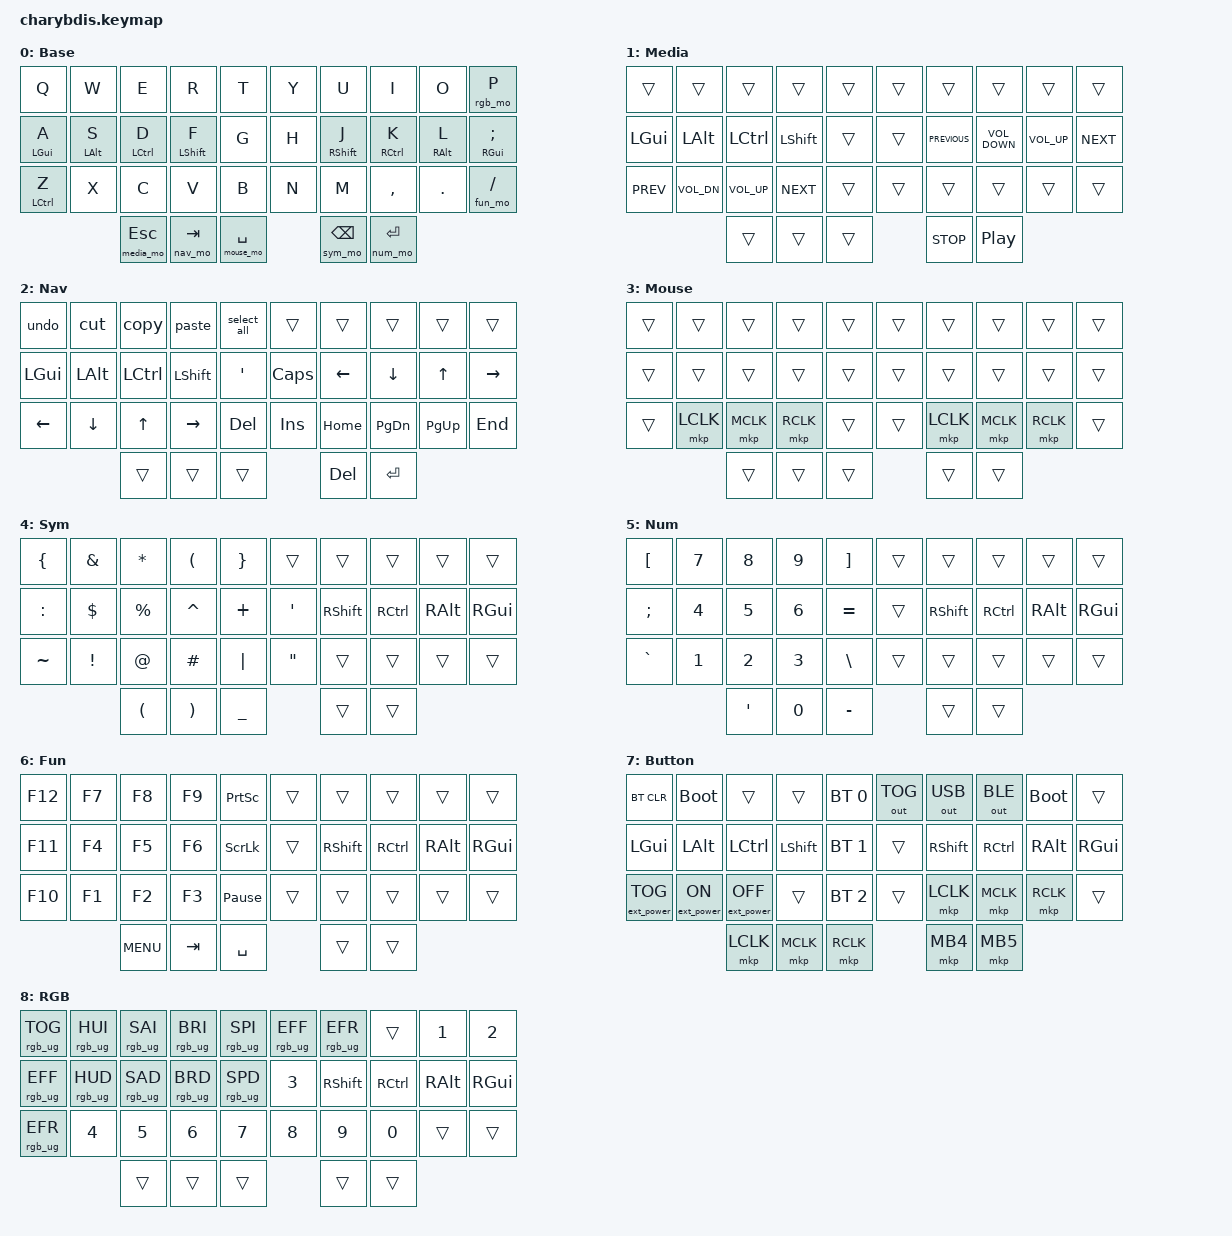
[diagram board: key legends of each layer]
#include <behaviors.dtsi>
#include <dt-bindings/zmk/keys.h>
#include <dt-bindings/zmk/rgb.h>
#include <dt-bindings/zmk/bt.h>
#include <dt-bindings/zmk/ext_power.h>
#include <dt-bindings/zmk/mouse.h>
#include <dt-bindings/zmk/outputs.h>
#include <input/processors.dtsi>
#include <dt-bindings/zmk/input_transform.h>

#define Base 0
#define Media 1
#define Nav 2
#define Mouse 3
#define Sym 4
#define Num 5
#define Fun 6
#define Button 7
#define RGB 8

/ {
    macros {
        undo: undo {
            compatible = "zmk,behavior-macro";
            #binding-cells = <0>;
            bindings = <&kp LC(Z)>;
        };
        cut: cut {
            compatible = "zmk,behavior-macro";
            #binding-cells = <0>;
            bindings = <&kp LC(X)>;
        };
        copy: copy {
            compatible = "zmk,behavior-macro";
            #binding-cells = <0>;
            bindings = <&kp LC(C)>;
        };
        paste: paste {
            compatible = "zmk,behavior-macro";
            #binding-cells = <0>;
            bindings = <&kp LC(V)>;
        };
        select_all: select_all {
            compatible = "zmk,behavior-macro";
            #binding-cells = <0>;
            bindings = <&kp LC(A)>;
        };

        // Layer-signal macros: press &mo X, send F2X to host, pause until
        // thumb key released, send F2X again, release &mo X.
        // The visualizer listens for F20-F24 and toggles the matching layer.
        media_mo: media_mo {
            compatible = "zmk,behavior-macro";
            #binding-cells = <0>;
            bindings
                = <&macro_press &mo 1>
                , <&kp F20>
                , <&macro_pause_for_release>
                , <&kp F20>
                , <&macro_release &mo 1>
                ;
        };
        nav_mo: nav_mo {
            compatible = "zmk,behavior-macro";
            #binding-cells = <0>;
            bindings
                = <&macro_press &mo 2>
                , <&kp F21>
                , <&macro_pause_for_release>
                , <&kp F21>
                , <&macro_release &mo 2>
                ;
        };
        mouse_mo: mouse_mo {
            compatible = "zmk,behavior-macro";
            #binding-cells = <0>;
            bindings
                = <&macro_press &mo 3>
                , <&kp F22>
                , <&macro_pause_for_release>
                , <&kp F22>
                , <&macro_release &mo 3>
                ;
        };
        sym_mo: sym_mo {
            compatible = "zmk,behavior-macro";
            #binding-cells = <0>;
            bindings
                = <&macro_press &mo 4>
                , <&kp F23>
                , <&macro_pause_for_release>
                , <&kp F23>
                , <&macro_release &mo 4>
                ;
        };
        num_mo: num_mo {
            compatible = "zmk,behavior-macro";
            #binding-cells = <0>;
            bindings
                = <&macro_press &mo 5>
                , <&kp F24>
                , <&macro_pause_for_release>
                , <&kp F24>
                , <&macro_release &mo 5>
                ;
        };
        fun_mo: fun_mo {
            compatible = "zmk,behavior-macro";
            #binding-cells = <0>;
            bindings
                = <&macro_press &mo 6>
                , <&kp F13>
                , <&macro_pause_for_release>
                , <&kp F13>
                , <&macro_release &mo 6>
                ;
        };
        rgb_mo: rgb_mo {
            compatible = "zmk,behavior-macro";
            #binding-cells = <0>;
            bindings
                = <&macro_press &mo 8>
                , <&kp F14>
                , <&macro_pause_for_release>
                , <&kp F14>
                , <&macro_release &mo 8>
                ;
        };
    };
    trackball_listener {
        compatible = "zmk,input-listener";
        device = <&trackball_split>;

        default {
            layers = <Media>;  // Default mouse movement on Media layer
            input-processors = <&zip_xy_scaler 1 3>;
        };

        snipe {
            layers = <Mouse>;
            input-processors = <&zip_xy_scaler 1 3>;
        };

        scroll {
            layers = <Nav>;
            input-processors = <&zip_xy_scaler 1 3>, <&zip_xy_to_scroll_mapper>, <&zip_scroll_transform (INPUT_TRANSFORM_Y_INVERT)>;
        };
    };

    behaviors {
        hm: homerow_mods {
            compatible = "zmk,behavior-hold-tap";
            #binding-cells = <2>;
            flavor = "tap-preferred";
            tapping-term-ms = <240>;
            quick-tap-ms = <150>;
            bindings =
                <&kp>,
                <&kp>;
        };

        lt: layer_tap {
            compatible = "zmk,behavior-hold-tap";
            #binding-cells = <2>;
            flavor = "balanced";
            tapping-term-ms = <240>;
            quick-tap-ms = <150>;
            bindings =
                <&mo>,
                <&kp>;
        };

        // Signaled layer-tap: like &lt but the hold macro also sends F20-F24
        // so the layout visualizer can track which layer is active.
        // Usage: &lts_media 0 ESCAPE  (0 = dummy cell for the 0-param macro)
        lts_media: lts_media {
            compatible = "zmk,behavior-hold-tap";
            #binding-cells = <2>;
            flavor = "balanced";
            tapping-term-ms = <240>;
            quick-tap-ms = <150>;
            bindings = <&media_mo>, <&kp>;
        };
        lts_nav: lts_nav {
            compatible = "zmk,behavior-hold-tap";
            #binding-cells = <2>;
            flavor = "balanced";
            tapping-term-ms = <240>;
            quick-tap-ms = <150>;
            bindings = <&nav_mo>, <&kp>;
        };
        lts_mouse: lts_mouse {
            compatible = "zmk,behavior-hold-tap";
            #binding-cells = <2>;
            flavor = "balanced";
            tapping-term-ms = <240>;
            quick-tap-ms = <150>;
            bindings = <&mouse_mo>, <&kp>;
        };
        lts_sym: lts_sym {
            compatible = "zmk,behavior-hold-tap";
            #binding-cells = <2>;
            flavor = "balanced";
            tapping-term-ms = <240>;
            quick-tap-ms = <150>;
            bindings = <&sym_mo>, <&kp>;
        };
        lts_num: lts_num {
            compatible = "zmk,behavior-hold-tap";
            #binding-cells = <2>;
            flavor = "balanced";
            tapping-term-ms = <240>;
            quick-tap-ms = <150>;
            bindings = <&num_mo>, <&kp>;
        };
        lts_fun: lts_fun {
            compatible = "zmk,behavior-hold-tap";
            #binding-cells = <2>;
            flavor = "balanced";
            tapping-term-ms = <240>;
            quick-tap-ms = <150>;
            bindings = <&fun_mo>, <&kp>;
        };
        lts_rgb: lts_rgb {
            compatible = "zmk,behavior-hold-tap";
            #binding-cells = <2>;
            flavor = "balanced";
            tapping-term-ms = <240>;
            quick-tap-ms = <150>;
            bindings = <&rgb_mo>, <&kp>;
        };
    };

    keymap {
        compatible = "zmk,keymap";

        Base {
            bindings = <
            &kp Q       &kp W       &kp E         &kp R         &kp T                 &kp Y        &kp U        &kp I       &kp O               &lts_rgb 0 P
            &hm LGUI A  &hm LALT S  &hm LCTRL D   &hm LSHIFT F  &kp G                 &kp H  &hm RSHFT J  &hm RCTRL K  &hm RALT L  &hm RGUI SEMICOLON
            &hm LCTRL Z &kp X       &kp C         &kp V         &kp B                 &kp N        &kp M    &kp COMMA     &kp DOT         &lts_fun 0 SLASH
                                    &lts_media 0 ESCAPE  &lts_nav 0 TAB  &lts_mouse 0 SPACE  &lts_sym 0 BACKSPACE  &lts_num 0 ENTER
            >;
        };

        Media {
            bindings = <
            &trans        &trans          &trans          &trans      &trans          &trans            &trans             &trans           &trans      &trans  
            &kp LGUI      &kp LALT        &kp LCTRL       &kp LSHIFT  &trans          &trans    &kp C_PREVIOUS  &kp C_VOLUME_DOWN  &kp C_VOLUME_UP  &kp C_NEXT  
            &kp C_PREV    &kp C_VOL_DN    &kp C_VOL_UP    &kp C_NEXT  &trans          &trans            &trans             &trans           &trans      &trans  
                                          &trans          &trans      &trans          &kp C_STOP  &kp C_PLAY_PAUSE
            >;
        };

        Nav {
            bindings = <
            &undo         &cut        &copy       &paste      &select_all             &trans     &trans      &trans         &trans       &trans 
            &kp LEFT_GUI  &kp LALT    &kp LCTRL   &kp LSHIFT  &kp SQT                 &kp CAPS   &kp LEFT    &kp DOWN       &kp UP       &kp RIGHT  
            &kp LEFT      &kp DOWN    &kp UP      &kp RIGHT   &kp DELETE              &kp INSERT   &kp HOME  &kp PAGE_DOWN  &kp PAGE_UP  &kp END  
                                      &trans      &trans      &trans                  &kp DELETE  &kp ENTER
            >;
        };

        Mouse {
            bindings = <
            &trans    &trans      &trans      &trans      &trans                      &trans         &trans     &trans     &trans  &trans  
            &trans    &trans      &trans      &trans      &trans                      &trans         &trans     &trans     &trans  &trans  
            &trans    &mkp LCLK   &mkp MCLK   &mkp RCLK   &trans                      &trans      &mkp LCLK  &mkp MCLK  &mkp RCLK  &trans  
                                  &trans      &trans      &trans                      &trans         &trans
            >;
        };

        Sym {
            bindings = <
            &kp LEFT_BRACE  &kp AMPERSAND  &kp ASTERISK          &kp LEFT_PARENTHESIS   &kp RIGHT_BRACE       &trans      &trans      &trans     &trans    &trans  
            &kp COLON       &kp DOLLAR     &kp PERCENT           &kp CARET              &kp PLUS              &kp SQT     &kp RSHIFT  &kp RCTRL  &kp RALT  &kp RGUI  
            &kp TILDE       &kp EXCL       &kp AT                &kp HASH               &kp PIPE              &kp DQT     &trans      &trans     &trans    &trans  
                                           &kp LEFT_PARENTHESIS  &kp RIGHT_PARENTHESIS  &kp UNDERSCORE        &trans      &trans
            >;
        };

        Num {
            bindings = <
            &kp LEFT_BRACKET  &kp NUMBER_7  &kp NUMBER_8  &kp NUMBER_9  &kp RIGHT_BRACKET       &trans      &trans     &trans    &trans    &trans  
            &kp SEMICOLON     &kp NUMBER_4  &kp NUMBER_5  &kp NUMBER_6  &kp EQUAL               &trans  &kp RSHIFT  &kp RCTRL  &kp RALT  &kp RGUI  
            &kp GRAVE         &kp NUMBER_1  &kp NUMBER_2  &kp NUMBER_3  &kp BACKSLASH           &trans      &trans     &trans    &trans    &trans  
                                            &kp SQT       &kp NUMBER_0  &kp MINUS               &trans      &trans
            >;
        };

        Fun {
            bindings = <
            &kp F12     &kp F7   &kp F8      &kp F9   &kp PRINTSCREEN          &trans      &trans     &trans    &trans    &trans  
            &kp F11     &kp F4   &kp F5      &kp F6   &kp SCROLLLOCK           &trans  &kp RSHIFT  &kp RCTRL  &kp RALT  &kp RGUI  
            &kp F10     &kp F1   &kp F2      &kp F3   &kp PAUSE_BREAK          &trans      &trans     &trans    &trans    &trans  
                                 &kp C_MENU  &kp TAB  &kp SPACE                &trans      &trans
            >;
        };

        Button {
            bindings = <
            &bt BT_CLR            &bootloader         &trans              &trans          &bt BT_SEL 0       &out OUT_TOG  &out OUT_USB   &out OUT_BLE  &bootloader    &trans  
            &kp LGUI              &kp LALT            &kp LCTRL           &kp LSHIFT      &bt BT_SEL 1             &trans    &kp RSHIFT      &kp RCTRL     &kp RALT  &kp RGUI  
            &ext_power EP_TOG     &ext_power EP_ON    &ext_power EP_OFF   &trans          &bt BT_SEL 2             &trans     &mkp LCLK      &mkp MCLK    &mkp RCLK    &trans  
                                                      &mkp LCLK           &mkp MCLK       &mkp RCLK              &mkp MB4      &mkp MB5
            >;
        };

        RGB {
            display-name = "RGB";
            bindings = <
            &rgb_ug RGB_TOG  &rgb_ug RGB_HUI  &rgb_ug RGB_SAI  &rgb_ug RGB_BRI  &rgb_ug RGB_SPI       &rgb_ug RGB_EFF     &rgb_ug RGB_EFR      &trans    &kp N1    &kp N2  
            &rgb_ug RGB_EFF  &rgb_ug RGB_HUD  &rgb_ug RGB_SAD  &rgb_ug RGB_BRD  &rgb_ug RGB_SPD       &kp N3        &kp RSHIFT    &kp RCTRL     &kp RALT  &kp RGUI  
            &rgb_ug RGB_EFR  &kp N4           &kp N5           &kp N6           &kp N7                &kp N8        &kp N9        &kp N0        &trans    &trans  
                                              &trans           &trans           &trans                &trans        &trans
            >;
        };
    };
};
